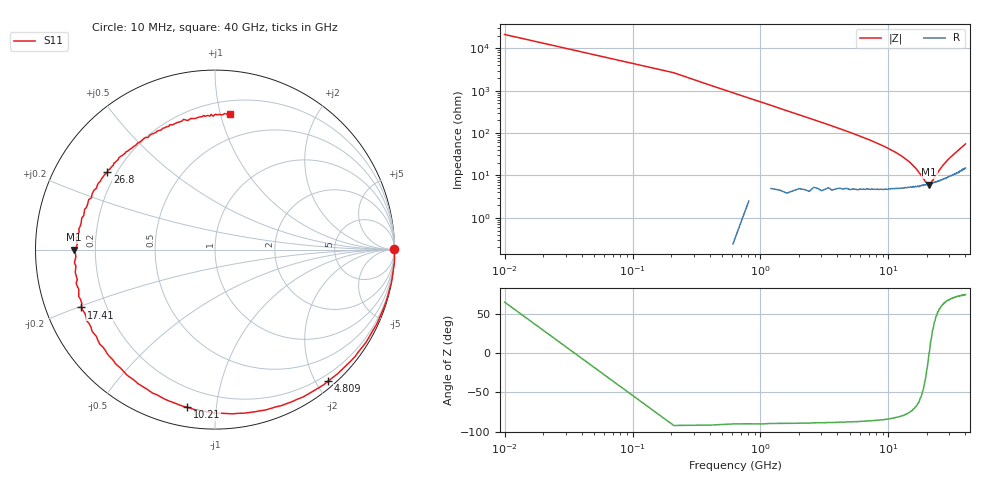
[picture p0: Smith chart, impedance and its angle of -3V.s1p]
!Agilent Technologies,N5227A,US51270434,A.10.00.00
!Agilent N5227A: A.10.00.00
!Date: Monday, January 26, 2026 17:21:10
!Correction: S11(Full 1 Port(1))
!S1P File: Measurement: S11:
# Hz S  dB  R 50
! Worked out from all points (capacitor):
!   201 points, 10 MHz to 40 GHz, reference 50 ohm
!   read as one part to ground: C = 291 fF near 209.9 MHz
!   lowest |Z| = 6.02 ohm at 20.8 GHz (marker M1)
!   series resonance near 20.82 GHz, so ESL is about 200 pH
!   S11 on the Smith chart (normalised r, x): 10 MHz: open; 4.809 GHz: 0.10, -2.17; 10.21 GHz: 0.10, -0.84; 17.41 GHz: 0.11, -0.20; 26.8 GHz: 0.17, +0.31; 40 GHz: 0.30, +1.07
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1e7  -0.02 0.2
1.00975e9  0.00 -10.6
2.4094e9  -0.07 -25.1
3.6091e9  -0.16 -37.3
4.8088e9  -0.30 -49.4
5.00875e9  -0.30 -51.2
6.20845e9  -0.45 -63.1
7.2082e9  -0.57 -72.5
8.4079e9  -0.72 -83.7
1.00075e10  -0.95 -98.2
1.020745e10  -1.00 -99.9
1.12072e10  -1.12 -108.3
1.24069e10  -1.29 -118.6
1.380655e10  -1.47 -130.1
1.500625e10  -1.65 -139.1
1.6006e10  -1.71 -146.5
1.740565e10  -1.82 -156.6
2.0005e10  -2.08 -174.7
2.08048e10  -2.10 -180.0
2.340415e10  -2.40 163.7
2.500375e10  -2.48 154.6
2.68033e10  -2.64 144.3
2.8003e10  -2.63 138.9
3.00025e10  -2.71 128.2
3.180205e10  -2.68 119.5
3.500125e10  -2.63 105.2
3.740065e10  -2.50 94.8
4e10  -2.38 83.7
